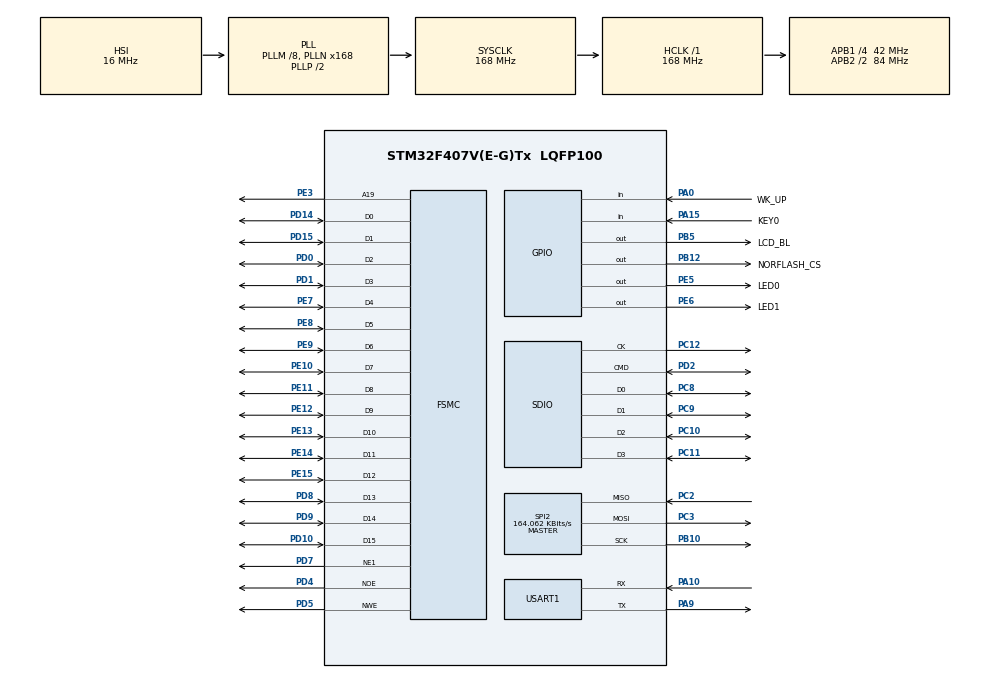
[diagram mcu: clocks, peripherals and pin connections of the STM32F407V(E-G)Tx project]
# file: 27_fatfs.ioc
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FATFS._CODE_PAGE=437
FATFS._USE_LABEL=1
FATFS._USE_LFN=3
FSMC.AddressSetupTime1=15
FSMC.BusTurnAroundDuration1=0
FSMC.DataSetupTime1=60
FSMC.ExtendedAddressSetupTime1=9
FSMC.ExtendedDataSetupTime1=9
FSMC.ExtendedMode1=FSMC_EXTENDED_MODE_ENABLE
Mcu.Family=STM32F4
Mcu.Name=STM32F407V(E-G)Tx
Mcu.Package=LQFP100
NVIC.PriorityGroup=NVIC_PRIORITYGROUP_2
NVIC.TIM4_IRQn=true\:2\:1\:true\:false\:true\:true\:true\:true
NVIC.USART1_IRQn=true\:2\:2\:true\:false\:true\:true\:true\:true
PA0-WKUP.GPIO_Label=WK_UP
PA0-WKUP.GPIO_PuPd=GPIO_PULLDOWN
PA0-WKUP.Signal=GPIO_Input
PA10.Mode=Asynchronous
PA10.Signal=USART1_RX
PA13.Mode=Serial_Wire
PA13.Signal=SYS_JTMS-SWDIO
PA14.Mode=Serial_Wire
PA14.Signal=SYS_JTCK-SWCLK
PA15.GPIO_Label=KEY0
PA15.GPIO_PuPd=GPIO_PULLDOWN
PA15.Signal=GPIO_Input
PA9.Mode=Asynchronous
PA9.Signal=USART1_TX
PB10.Mode=Full_Duplex_Master
PB10.Signal=SPI2_SCK
PB12.GPIO_Label=NORFLASH_CS
PB12.GPIO_PuPd=GPIO_PULLUP
PB12.GPIO_Speed=GPIO_SPEED_FREQ_HIGH
PB12.PinState=GPIO_PIN_SET
PB12.Signal=GPIO_Output
PB5.GPIO_Label=LCD_BL
PB5.GPIO_PuPd=GPIO_PULLUP
PB5.GPIO_Speed=GPIO_SPEED_FREQ_HIGH
PB5.PinState=GPIO_PIN_SET
PB5.Signal=GPIO_Output
PC10.Mode=SD_4_bits_Wide_bus
PC10.Signal=SDIO_D2
PC11.Mode=SD_4_bits_Wide_bus
PC11.Signal=SDIO_D3
PC12.Mode=SD_4_bits_Wide_bus
PC12.Signal=SDIO_CK
PC14-OSC32_IN.Mode=LSE-External-Oscillator
PC14-OSC32_IN.Signal=RCC_OSC32_IN
PC15-OSC32_OUT.Mode=LSE-External-Oscillator
PC15-OSC32_OUT.Signal=RCC_OSC32_OUT
PC2.Mode=Full_Duplex_Master
PC2.Signal=SPI2_MISO
PC3.Mode=Full_Duplex_Master
PC3.Signal=SPI2_MOSI
PC8.Mode=SD_4_bits_Wide_bus
PC8.Signal=SDIO_D0
PC9.Mode=SD_4_bits_Wide_bus
PC9.Signal=SDIO_D1
PD0.Mode=16b-d1
PD0.Signal=FSMC_D2
PD1.Mode=16b-d1
PD1.Signal=FSMC_D3
PD10.Mode=16b-d1
PD10.Signal=FSMC_D15
PD14.Mode=16b-d1
PD14.Signal=FSMC_D0
PD15.Mode=16b-d1
PD15.Signal=FSMC_D1
PD2.Mode=SD_4_bits_Wide_bus
PD2.Signal=SDIO_CMD
PD4.Mode=Lcd1
PD4.Signal=FSMC_NOE
PD5.Mode=Lcd1
PD5.Signal=FSMC_NWE
PD7.Mode=NorPsramChipSelect1_1
PD7.Signal=FSMC_NE1
PD8.Mode=16b-d1
PD8.Signal=FSMC_D13
PD9.Mode=16b-d1
PD9.Signal=FSMC_D14
PE10.Mode=16b-d1
PE10.Signal=FSMC_D7
PE11.Mode=16b-d1
PE11.Signal=FSMC_D8
PE12.Mode=16b-d1
PE12.Signal=FSMC_D9
PE13.Mode=16b-d1
PE13.Signal=FSMC_D10
PE14.Mode=16b-d1
PE14.Signal=FSMC_D11
PE15.Mode=16b-d1
PE15.Signal=FSMC_D12
PE3.Mode=A19_1
PE3.Signal=FSMC_A19
PE5.GPIO_Label=LED0
PE5.GPIO_PuPd=GPIO_PULLUP
PE5.GPIO_Speed=GPIO_SPEED_FREQ_HIGH
PE5.PinState=GPIO_PIN_SET
PE5.Signal=GPIO_Output
PE6.GPIO_Label=LED1
PE6.GPIO_PuPd=GPIO_PULLUP
PE6.GPIO_Speed=GPIO_SPEED_FREQ_HIGH
PE6.PinState=GPIO_PIN_SET
PE6.Signal=GPIO_Output
PE7.Mode=16b-d1
PE7.Signal=FSMC_D4
PE8.Mode=16b-d1
PE8.Signal=FSMC_D5
PE9.Mode=16b-d1
PE9.Signal=FSMC_D6
PH0-OSC_IN.Mode=HSE-External-Oscillator
PH0-OSC_IN.Signal=RCC_OSC_IN
PH1-OSC_OUT.Mode=HSE-External-Oscillator
PH1-OSC_OUT.Signal=RCC_OSC_OUT
ProjectManager.HeapSize=0x1000
ProjectManager.StackSize=0x400
ProjectManager.TargetToolchain=STM32CubeIDE
RCC.48MHZClocksFreq_Value=84000000
RCC.AHBFreq_Value=168000000
RCC.APB1CLKDivider=RCC_HCLK_DIV4
RCC.APB1Freq_Value=42000000
RCC.APB1TimFreq_Value=84000000
RCC.APB2CLKDivider=RCC_HCLK_DIV2
RCC.APB2Freq_Value=84000000
RCC.APB2TimFreq_Value=168000000
RCC.CortexFreq_Value=168000000
RCC.HCLKFreq_Value=168000000
RCC.HSE_VALUE=25000000
RCC.HSI_VALUE=16000000
RCC.PLLM=8
RCC.PLLN=168
RCC.SYSCLKFreq_VALUE=168000000
RCC.SYSCLKSource=RCC_SYSCLKSOURCE_PLLCLK
RCC.VCOOutputFreq_Value=336000000
SDIO.ClockDiv=0x06
SDIO.HardwareFlowControl=SDIO_HARDWARE_FLOW_CONTROL_ENABLE
SPI2.BaudRatePrescaler=SPI_BAUDRATEPRESCALER_256
SPI2.CLKPhase=SPI_PHASE_2EDGE
SPI2.CLKPolarity=SPI_POLARITY_HIGH
SPI2.CalculateBaudRate=164.062 KBits/s
SPI2.Direction=SPI_DIRECTION_2LINES
SPI2.Mode=SPI_MODE_MASTER
SPI2.VirtualType=VM_MASTER
TIM4.AutoReloadPreload=TIM_AUTORELOAD_PRELOAD_ENABLE
TIM4.Period=1000
TIM4.Prescaler=8400-1
USART1.VirtualMode=VM_ASYNC
VP_FATFS_VS_Generic.Mode=User_defined
VP_TIM4_VS_ClockSourceINT.Mode=Internal
board=custom

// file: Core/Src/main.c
/**
 ****************************************************************************************************
 * @file        main.c
 * @author      ALIENTEK
 * @brief       fatfs code
 * @license     Copyright (C) 2012-2024, ALIENTEK
 ****************************************************************************************************
 * @attention
 *
 * platform     : ALIENTEK M100-STM32F407 board
 * website      : www.alientek.com
 * forum        : www.openedv.com/forum.php
 *
 * change logs  :
 * version      data         notes
 * V1.0         20240409     the first version
 *
 ****************************************************************************************************
 */

 /* USER CODE BEGIN Header */

/* USER CODE END Header */
#include "main.h"
#include "fatfs.h"
#include "sdio.h"
#include "spi.h"
#include "tim.h"
#include "usart.h"
#include "gpio.h"
#include "fsmc.h"

/* USER CODE BEGIN Includes */
#include "../../ATK_Middlewares/MALLOC/malloc.h"
#include "../../BSP/LED/led.h"
#include "../../BSP/KEY/key.h"
#include "../../BSP/LCD/lcd.h"
#include "../../FatFs/exfuns/exfuns.h"
#include "../../FatFs/exfuns/fattester.h"
/* USER CODE END Includes */

/* USER CODE BEGIN PTD */
extern uint8_t g_sd_error;
/* USER CODE END PTD */

/* USER CODE BEGIN PD */
uint8_t read_buf[50] = {0};
uint8_t write_buf[50] = "Hello test demo";

/**
 * @brief   Displays information about the experiment
 * @param   None
 * @retval  None
 */
void stm32f407vg_show_mesg(void)
{
	/* The serial port outputs the experimental information */
	printf("\n");
	printf("********************************\r\n");
	printf("STM32F407\r\n");
	printf("FATFS Test\r\n");
	printf("ATOM@ALIENTEK\r\n");
	printf("********************************\r\n");
	printf("\r\n");
}

/* USER CODE END PD */

void SystemClock_Config(void);

int main(void)
{
  /* USER CODE BEGIN 1 */
  FRESULT res;
  uint32_t total;
  uint32_t free;
  uint8_t t;
  /* USER CODE END 1 */

  /* MCU Configuration--------------------------------------------------------*/

  /* Reset of all peripherals, Initializes the Flash interface and the Systick. */
  HAL_Init();

  /* Configure the system clock */
  SystemClock_Config();

  /* Initialize all configured peripherals */
  MX_GPIO_Init();
  MX_USART1_UART_Init();
  MX_FSMC_Init();
  MX_TIM4_Init();
  MX_SDIO_SD_Init();
  MX_SPI2_Init();
  MX_FATFS_Init();
  /* USER CODE BEGIN 2 */
  lcd_init();                         /* Initialize LCD */
  my_mem_init(SRAMIN);                /* Initialize the internal SRAM memory pool */
  my_mem_init(SRAMCCM);               /* Initialize the CCM memory pool */
  stm32f407vg_show_mesg();
  lcd_show_string(30, 50, 200, 16, 16, "STM32", RED);
  lcd_show_string(30, 70, 200, 16, 16, "FATFS TEST", RED);
  lcd_show_string(30, 90, 200, 16, 16, "ATOM@ALIENTEK", RED);

  lcd_show_string(30, 110, 200, 16, 16, "Use USMART for test", RED);

  while (g_sd_error == 1)
  {
  	  g_sd_error = 0;
  	  MX_SDIO_SD_Init();
      lcd_show_string(30, 130, 200, 16, 16, "SD Card Error!", RED);
      HAL_Delay(500);
      lcd_show_string(30, 130, 200, 16, 16, "Please Check! ", RED);
      HAL_Delay(500);
      LED1_TOGGLE();
  }

  exfuns_init();

  /* mount SD card */
  f_mount(fs[0], "0:", 1);

  /* mount NOR Flash, if NOR Flash does not have a file system, it needs to be formatted */
  res = f_mount(fs[1], "1:", 1);
  if (res == FR_NO_FILESYSTEM)
  {
      lcd_show_string(30, 130, 200, 16, 16, "Flash Disk Formatting...", RED);
      res = f_mkfs("1:", 0, 0, 0, _MAX_SS);
      if (res == FR_OK)
      {
        f_setlabel((const TCHAR *)"1:ALIENTEK");
        lcd_show_string(30, 130, 200, 16, 16, "Flash Disk Format Finish", RED);
      }
      else
      {
        lcd_show_string(30, 130, 200, 16, 16, "Flash Disk Format Error ", RED);
      }
      HAL_Delay(1000);
  }
  lcd_fill(30, 130, 239, 145, WHITE);

  /* Gets the SD card capacity */
  while (exfuns_get_free("0", &total, &free) != 0)
  {
      lcd_show_string(30, 130, 200, 16, 16, "SD Card FatFs Error!", RED);
      HAL_Delay(200);
      lcd_fill(30, 130, 240, 150 + 16, WHITE);
      HAL_Delay(200);
      LED1_TOGGLE();
  }

  lcd_show_string(30, 130, 200, 16, 16, "FATFS OK!", BLUE);
  lcd_show_string(30, 150, 200, 16, 16, "SD Total Size:     MB", BLUE);
  lcd_show_string(30, 170, 200, 16, 16, "SD Free Size:     MB", BLUE);
  lcd_show_num(142, 150, total >> 10, 5, 16, BLUE);
  lcd_show_num(134, 170, free >> 10, 5, 16, BLUE);

  /* USER CODE END 2 */

  /* Infinite loop */
  /* USER CODE BEGIN WHILE */
  while (1)
  {
	  t++;
	  if (t % 20 == 0)
	  {
	  	 LED0_TOGGLE(); /* flashing LED0 indicates that the system is running */
	  }

	  HAL_Delay(10);    /* delay 10ms */
    /* USER CODE END WHILE */

  }
}

void SystemClock_Config(void)
{
  RCC_OscInitTypeDef RCC_OscInitStruct = {0};
  RCC_ClkInitTypeDef RCC_ClkInitStruct = {0};

  /** Configure the main internal regulator output voltage
  */
  __HAL_RCC_PWR_CLK_ENABLE();
  __HAL_PWR_VOLTAGESCALING_CONFIG(PWR_REGULATOR_VOLTAGE_SCALE1);

  /** Initializes the RCC Oscillators according to the specified parameters
  * in the RCC_OscInitTypeDef structure.
  */
  RCC_OscInitStruct.OscillatorType = RCC_OSCILLATORTYPE_HSI;
  RCC_OscInitStruct.HSIState = RCC_HSI_ON;
  RCC_OscInitStruct.HSICalibrationValue = RCC_HSICALIBRATION_DEFAULT;
  RCC_OscInitStruct.PLL.PLLState = RCC_PLL_ON;
  RCC_OscInitStruct.PLL.PLLSource = RCC_PLLSOURCE_HSI;
  RCC_OscInitStruct.PLL.PLLM = 8;
  RCC_OscInitStruct.PLL.PLLN = 168;
  RCC_OscInitStruct.PLL.PLLP = RCC_PLLP_DIV2;
  RCC_OscInitStruct.PLL.PLLQ = 4;
  if (HAL_RCC_OscConfig(&RCC_OscInitStruct) != HAL_OK)
  {
    Error_Handler();
  }

  /** Initializes the CPU, AHB and APB buses clocks
  */
  RCC_ClkInitStruct.ClockType = RCC_CLOCKTYPE_HCLK|RCC_CLOCKTYPE_SYSCLK
                              |RCC_CLOCKTYPE_PCLK1|RCC_CLOCKTYPE_PCLK2;
  RCC_ClkInitStruct.SYSCLKSource = RCC_SYSCLKSOURCE_PLLCLK;
  RCC_ClkInitStruct.AHBCLKDivider = RCC_SYSCLK_DIV1;
  RCC_ClkInitStruct.APB1CLKDivider = RCC_HCLK_DIV4;
  RCC_ClkInitStruct.APB2CLKDivider = RCC_HCLK_DIV2;

  if (HAL_RCC_ClockConfig(&RCC_ClkInitStruct, FLASH_LATENCY_5) != HAL_OK)
  {
    Error_Handler();
  }
}

void Error_Handler(void)
{
  __disable_irq();
  while (1)
  {
  }
}
